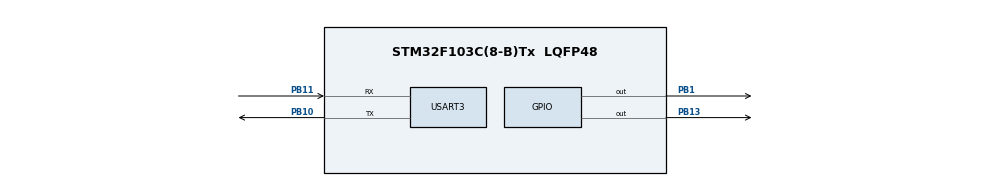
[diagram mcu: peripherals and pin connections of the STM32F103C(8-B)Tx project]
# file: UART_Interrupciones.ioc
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Mcu.Family=STM32F1
NVIC.USART3_IRQn=true\:0\:0\:false\:false\:true\:true\:true
RCC.APB2Freq_Value=8000000
PA14.Mode=Serial_Wire
PB10.Mode=Asynchronous
PA13.Mode=Serial_Wire
Mcu.Name=STM32F103C(8-B)Tx
PB11.Signal=USART3_RX
PB13.Signal=GPIO_Output
Mcu.Package=LQFP48
PB1.Signal=GPIO_Output
ProjectManager.StackSize=0x400
USART3.VirtualMode=VM_ASYNC
PA13.Signal=SYS_JTMS-SWDIO
PA14.Signal=SYS_JTCK-SWCLK
ProjectManager.HeapSize=0x200
PB11.Mode=Asynchronous
ProjectManager.TargetToolchain=STM32CubeIDE
NVIC.PriorityGroup=NVIC_PRIORITYGROUP_4
RCC.APB1Freq_Value=8000000
PB10.Signal=USART3_TX
board=custom

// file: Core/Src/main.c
/* USER CODE BEGIN Header */
/**
  ******************************************************************************
  * @file           : main.c
  * @brief          : Main program body
  ******************************************************************************
  * @attention
  *
  * <h2><center>&copy; Copyright (c) 2021 STMicroelectronics.
  * All rights reserved.</center></h2>
  *
  * This software component is licensed by ST under BSD 3-Clause license,
  * the "License"; You may not use this file except in compliance with the
  * License. You may obtain a copy of the License at:
  *                        opensource.org/licenses/BSD-3-Clause
  *
  ******************************************************************************
  */
/* USER CODE END Header */
#include "main.h"

/* USER CODE BEGIN PD */
#define PORT_EN_TX3 GPIOB
#define PIN_EN_TX3  GPIO_PIN_1
#define STR_SIZE	20
/* USER CODE END PD */

UART_HandleTypeDef huart3;

/* USER CODE BEGIN PV */
const char *str = "Respuesta default\n\r";
char *rec[STR_SIZE];
uint32_t time_ctr = 0;
uint32_t delta = 0;
/* USER CODE END PV */

void SystemClock_Config(void);
static void MX_GPIO_Init(void);
static void MX_USART3_UART_Init(void);
/* USER CODE BEGIN PFP */
void _uartEnableReceive( void );
void _uartEnableTransmit( void );
/* USER CODE END PFP */

/* USER CODE BEGIN 0 */
void _uartEnableReceive( void ){
	HAL_GPIO_WritePin(PORT_EN_TX3, PIN_EN_TX3, GPIO_PIN_RESET);
}
void _uartEnableTransmit( void ){
	HAL_GPIO_WritePin(PORT_EN_TX3, PIN_EN_TX3, GPIO_PIN_SET);
}

void HAL_UART_TxCpltCallback(UART_HandleTypeDef *huart){
	if(huart->Instance == huart3.Instance){
		_uartEnableReceive();
		time_ctr = HAL_GetTick();
	}

}
void HAL_UART_RxCpltCallback(UART_HandleTypeDef *huart){
	if(huart->Instance == huart3.Instance){
		delta = HAL_GetTick() - time_ctr;
		_uartEnableTransmit();
		HAL_UART_Transmit_IT(&huart3, (uint8_t *)str, STR_SIZE);
	}
}

// (#) Non-Blocking mode API's with Interrupt are :
//     (+) HAL_UART_Transmit_IT()
//     (+) HAL_UART_Receive_IT()
//     (+) HAL_UART_IRQHandler()
//
// (#) A set of Transfer Complete Callbacks are provided in Non_Blocking mode:
//     (+) HAL_UART_TxCpltCallback()
//     (+) HAL_UART_RxCpltCallback()
//     (+) HAL_UART_ErrorCallback()
/* USER CODE END 0 */

int main(void)
{

  /* MCU Configuration--------------------------------------------------------*/

  /* Reset of all peripherals, Initializes the Flash interface and the Systick. */
  HAL_Init();

  /* Configure the system clock */
  SystemClock_Config();

  /* Initialize all configured peripherals */
  MX_GPIO_Init();
  MX_USART3_UART_Init();
  /* USER CODE BEGIN 2 */

  _uartEnableReceive();

  /* USER CODE END 2 */

  /* Infinite loop */
  while (1)
  {

    /* USER CODE BEGIN 3 */

	  HAL_UART_Receive_IT(&huart3, (uint8_t *) rec, STR_SIZE);

  }
  /* USER CODE END 3 */
}

void SystemClock_Config(void)
{
  RCC_OscInitTypeDef RCC_OscInitStruct = {0};
  RCC_ClkInitTypeDef RCC_ClkInitStruct = {0};

  /** Initializes the RCC Oscillators according to the specified parameters
  * in the RCC_OscInitTypeDef structure.
  */
  RCC_OscInitStruct.OscillatorType = RCC_OSCILLATORTYPE_HSI;
  RCC_OscInitStruct.HSIState = RCC_HSI_ON;
  RCC_OscInitStruct.HSICalibrationValue = RCC_HSICALIBRATION_DEFAULT;
  RCC_OscInitStruct.PLL.PLLState = RCC_PLL_NONE;
  if (HAL_RCC_OscConfig(&RCC_OscInitStruct) != HAL_OK)
  {
    Error_Handler();
  }
  /** Initializes the CPU, AHB and APB buses clocks
  */
  RCC_ClkInitStruct.ClockType = RCC_CLOCKTYPE_HCLK|RCC_CLOCKTYPE_SYSCLK
                              |RCC_CLOCKTYPE_PCLK1|RCC_CLOCKTYPE_PCLK2;
  RCC_ClkInitStruct.SYSCLKSource = RCC_SYSCLKSOURCE_HSI;
  RCC_ClkInitStruct.AHBCLKDivider = RCC_SYSCLK_DIV1;
  RCC_ClkInitStruct.APB1CLKDivider = RCC_HCLK_DIV1;
  RCC_ClkInitStruct.APB2CLKDivider = RCC_HCLK_DIV1;

  if (HAL_RCC_ClockConfig(&RCC_ClkInitStruct, FLASH_LATENCY_0) != HAL_OK)
  {
    Error_Handler();
  }
}

static void MX_USART3_UART_Init(void)
{

  huart3.Instance = USART3;
  huart3.Init.BaudRate = 115200;
  huart3.Init.WordLength = UART_WORDLENGTH_8B;
  huart3.Init.StopBits = UART_STOPBITS_1;
  huart3.Init.Parity = UART_PARITY_NONE;
  huart3.Init.Mode = UART_MODE_TX_RX;
  huart3.Init.HwFlowCtl = UART_HWCONTROL_NONE;
  huart3.Init.OverSampling = UART_OVERSAMPLING_16;
  if (HAL_UART_Init(&huart3) != HAL_OK)
  {
    Error_Handler();
  }

}

static void MX_GPIO_Init(void)
{
  GPIO_InitTypeDef GPIO_InitStruct = {0};

  /* GPIO Ports Clock Enable */
  __HAL_RCC_GPIOB_CLK_ENABLE();
  __HAL_RCC_GPIOA_CLK_ENABLE();

  /*Configure GPIO pin Output Level */
  HAL_GPIO_WritePin(GPIOB, GPIO_PIN_1|GPIO_PIN_13, GPIO_PIN_RESET);

  /*Configure GPIO pins : PB1 PB13 */
  GPIO_InitStruct.Pin = GPIO_PIN_1|GPIO_PIN_13;
  GPIO_InitStruct.Mode = GPIO_MODE_OUTPUT_PP;
  GPIO_InitStruct.Pull = GPIO_NOPULL;
  GPIO_InitStruct.Speed = GPIO_SPEED_FREQ_LOW;
  HAL_GPIO_Init(GPIOB, &GPIO_InitStruct);

}

void Error_Handler(void)
{
  __disable_irq();
  while (1)
  {
  }
}

/************************ (C) COPYRIGHT STMicroelectronics *****END OF FILE****/
